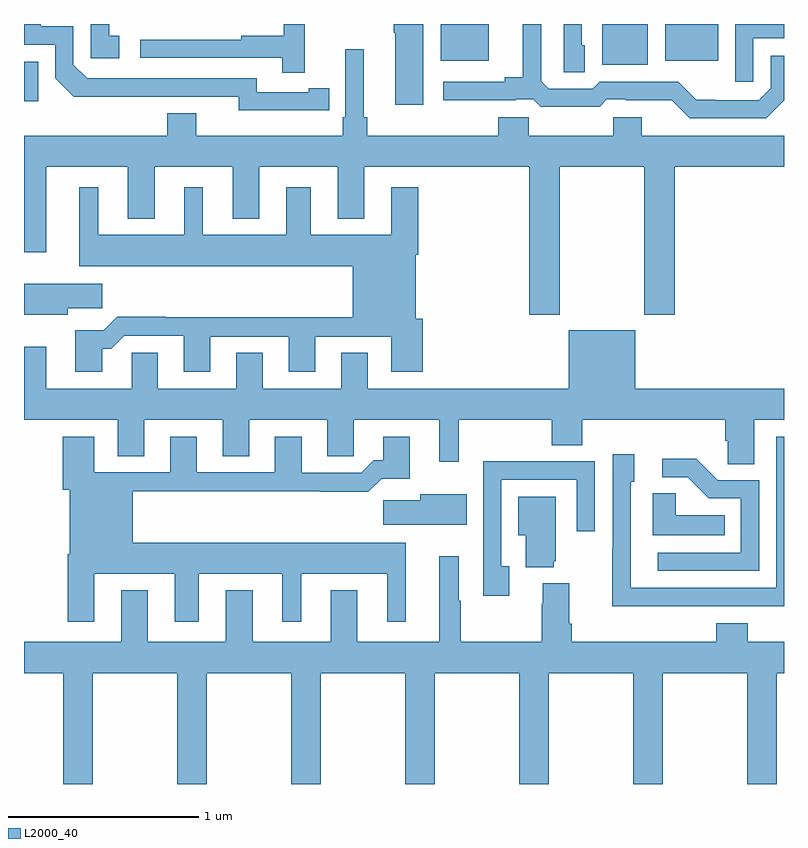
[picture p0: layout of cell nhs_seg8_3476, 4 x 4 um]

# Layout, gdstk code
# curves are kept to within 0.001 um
import gdstk
lib = gdstk.Library(unit=1e-6, precision=1e-09)
def R(c, l, rs):  # rectangles x0, y0, x1, y1
    for r in rs: c.add(gdstk.rectangle(r[:2], r[2:], *l))
def P(c, l, *ps):  # polygons
    for p in ps: c.add(gdstk.Polygon(p, *l))
L2000_40 = (2000, 40)

nhs_seg8_3476 = lib.new_cell('nhs_seg8_3476')
R(nhs_seg8_3476, L2000_40, [(325,1135.494,325.074,1135.701), (328.043,1135.685,328.282,1135.9), (327.194,1135.706,327.445,1135.9), (328.376,1135.706,328.654,1135.9)])
P(nhs_seg8_3476, L2000_40, [(326.498,1135.446),(326.606,1135.446),(326.606,1135.562),(326.498,1135.562),(326.498,1135.542),(326.226,1135.542),(326.226,1135.614),(325.332,1135.614),(325.26,1135.686),(325.26,1135.887),(325.087,1135.887),(325.087,1135.9),(325,1135.9),(325,1135.791),(325.164,1135.791),(325.164,1135.614),(325.262,1135.517),(326.13,1135.518),(326.13,1135.445)],
  [(326.477,1135.9),(326.367,1135.9),(326.367,1135.838),(326.143,1135.838),(326.143,1135.818),(325.611,1135.818),(325.611,1135.722),(326.359,1135.722),(326.359,1135.644),(326.477,1135.644)],
  [(329,1135.498),(329,1135.734),(328.929,1135.734),(328.929,1135.563),(328.866,1135.5),(328.642,1135.5),(328.642,1135.502),(328.538,1135.502),(328.443,1135.596),(328.029,1135.596),(327.993,1135.56),(327.762,1135.56),(327.723,1135.599),(327.723,1135.9),(327.626,1135.9),(327.626,1135.619),(327.53,1135.619),(327.53,1135.596),(327.207,1135.596),(327.207,1135.499),(327.587,1135.499),(327.587,1135.503),(327.681,1135.503),(327.721,1135.464),(328.029,1135.464),(328.068,1135.503),(328.168,1135.503),(328.168,1135.499),(328.409,1135.499),(328.503,1135.404),(328.906,1135.404)],
  [(325.501,1135.839),(325.448,1135.839),(325.448,1135.9),(325.35,1135.9),(325.35,1135.719),(325.501,1135.719)],
  [(327.1,1135.9),(326.947,1135.9),(326.947,1135.855),(326.954,1135.855),(326.954,1135.476),(327.1,1135.476)],
  [(327.952,1135.788),(327.936,1135.788),(327.936,1135.9),(327.84,1135.9),(327.84,1135.645),(327.952,1135.645)],
  [(328.839,1135.824),(329,1135.824),(329,1135.9),(328.743,1135.9),(328.743,1135.596),(328.839,1135.596)],
  [(327.819,1135.148),(328.264,1135.148),(328.264,1134.369),(328.424,1134.369),(328.424,1135.148),(329,1135.148),(329,1135.312),(328.252,1135.312),(328.252,1135.41),(328.102,1135.41),(328.102,1135.312),(327.657,1135.312),(327.657,1135.41),(327.497,1135.41),(327.497,1135.312),(326.807,1135.312),(326.807,1135.408),(326.788,1135.408),(326.788,1135.768),(326.691,1135.768),(326.691,1135.408),(326.678,1135.408),(326.678,1135.312),(325.906,1135.312),(325.906,1135.429),(325.754,1135.429),(325.754,1135.312),(325,1135.312),(325,1134.699),(325.117,1134.699),(325.117,1135.148),(325.547,1135.148),(325.547,1134.875),(325.687,1134.875),(325.687,1135.148),(326.099,1135.148),(326.099,1134.875),(326.239,1134.875),(326.239,1135.148),(326.651,1135.148),(326.651,1134.875),(326.791,1134.875),(326.791,1135.148),(327.659,1135.148),(327.659,1134.369),(327.819,1134.369)],
  [(325.411,1134.191),(325.46,1134.191),(325.527,1134.258),(325.841,1134.258),(325.841,1134.069),(325.981,1134.069),(325.981,1134.255),(326.393,1134.255),(326.393,1134.069),(326.533,1134.069),(326.533,1134.255),(326.933,1134.255),(326.933,1134.069),(327.098,1134.069),(327.098,1134.348),(327.061,1134.348),(327.061,1134.686),(327.074,1134.686),(327.074,1135.042),(326.933,1135.042),(326.933,1134.79),(326.509,1134.79),(326.509,1135.042),(326.381,1135.042),(326.381,1134.79),(325.942,1134.79),(325.942,1135.042),(325.844,1135.042),(325.844,1134.79),(325.39,1134.79),(325.39,1135.042),(325.292,1135.042),(325.292,1134.626),(326.729,1134.626),(326.729,1134.356),(325.745,1134.356),(325.745,1134.359),(325.49,1134.359),(325.42,1134.289),(325.271,1134.289),(325.271,1134.069),(325.411,1134.069)],
  [(325.231,1134.403),(325.411,1134.403),(325.411,1134.532),(325,1134.532),(325,1134.371),(325.231,1134.371)],
  [(325,1134.202),(325,1133.816),(325.493,1133.816),(325.493,1133.626),(325.633,1133.626),(325.633,1133.816),(326.045,1133.816),(326.045,1133.626),(326.185,1133.626),(326.185,1133.816),(326.597,1133.816),(326.597,1133.626),(326.736,1133.626),(326.736,1133.816),(327.185,1133.816),(327.185,1133.595),(327.289,1133.595),(327.289,1133.816),(327.778,1133.816),(327.778,1133.683),(327.938,1133.683),(327.938,1133.816),(328.691,1133.816),(328.691,1133.707),(328.704,1133.707),(328.704,1133.584),(328.843,1133.584),(328.843,1133.816),(329,1133.816),(329,1133.98),(328.216,1133.98),(328.216,1134.289),(327.866,1134.289),(327.866,1133.98),(326.809,1133.98),(326.809,1134.17),(326.669,1134.17),(326.669,1133.98),(326.257,1133.98),(326.257,1134.17),(326.117,1134.17),(326.117,1133.98),(325.705,1133.98),(325.705,1134.17),(325.566,1134.17),(325.566,1133.98),(325.117,1133.98),(325.117,1134.202)],
  [(325.369,1133.006),(325.793,1133.006),(325.793,1132.755),(325.921,1132.755),(325.921,1133.006),(326.36,1133.006),(326.36,1132.755),(326.458,1132.755),(326.458,1133.006),(326.912,1133.006),(326.912,1132.755),(327.01,1132.755),(327.01,1133.17),(325.573,1133.17),(325.573,1133.44),(326.557,1133.44),(326.557,1133.438),(326.813,1133.438),(326.882,1133.507),(327.031,1133.507),(327.031,1133.728),(326.891,1133.728),(326.891,1133.605),(326.842,1133.605),(326.775,1133.538),(326.461,1133.538),(326.461,1133.728),(326.321,1133.728),(326.321,1133.541),(325.909,1133.541),(325.909,1133.728),(325.769,1133.728),(325.769,1133.541),(325.369,1133.541),(325.369,1133.728),(325.205,1133.728),(325.205,1133.448),(325.241,1133.448),(325.241,1133.11),(325.229,1133.11),(325.229,1132.755),(325.369,1132.755)],
  [(328.559,1132.836),(329,1132.836),(329,1133.727),(328.959,1133.727),(328.959,1132.932),(328.194,1132.932),(328.194,1133.49),(328.213,1133.49),(328.213,1133.635),(328.098,1133.635),(328.098,1133.141),(328.096,1133.141),(328.096,1132.835),(328.559,1132.835)],
  [(328.869,1133.499),(328.65,1133.499),(328.537,1133.612),(328.359,1133.612),(328.359,1133.514),(328.493,1133.514),(328.604,1133.403),(328.773,1133.403),(328.773,1133.118),(328.335,1133.118),(328.335,1133.022),(328.869,1133.022)],
  [(327.553,1133.046),(327.513,1133.046),(327.513,1133.502),(327.909,1133.502),(327.909,1133.229),(328.005,1133.229),(328.005,1133.598),(327.689,1133.598),(327.689,1133.6),(327.417,1133.6),(327.417,1132.89),(327.553,1132.89)],
  [(328.688,1133.314),(328.431,1133.314),(328.431,1133.429),(328.31,1133.429),(328.31,1133.21),(328.688,1133.21)],
  [(327.331,1133.425),(327.086,1133.425),(327.086,1133.393),(326.892,1133.393),(326.892,1133.264),(327.331,1133.264)],
  [(327.788,1133.073),(327.799,1133.073),(327.799,1133.413),(327.602,1133.413),(327.602,1133.21),(327.641,1133.21),(327.641,1133.042),(327.788,1133.042)],
  [(328.807,1131.9),(328.962,1131.9),(328.962,1132.484),(329,1132.484),(329,1132.648),(328.808,1132.648),(328.808,1132.747),(328.643,1132.747),(328.643,1132.648),(327.884,1132.648),(327.884,1132.744),(327.871,1132.744),(327.871,1132.957),(327.731,1132.957),(327.731,1132.85),(327.724,1132.85),(327.724,1132.648),(327.299,1132.648),(327.299,1132.865),(327.289,1132.865),(327.289,1133.098),(327.185,1133.098),(327.185,1132.648),(326.755,1132.648),(326.755,1132.921),(326.615,1132.921),(326.615,1132.648),(326.203,1132.648),(326.203,1132.921),(326.063,1132.921),(326.063,1132.648),(325.651,1132.648),(325.651,1132.921),(325.511,1132.921),(325.511,1132.648),(325,1132.648),(325,1132.484),(325.207,1132.484),(325.207,1131.9),(325.362,1131.9),(325.362,1132.484),(325.807,1132.484),(325.807,1131.9),(325.962,1131.9),(325.962,1132.484),(326.407,1132.484),(326.407,1131.9),(326.562,1131.9),(326.562,1132.484),(327.007,1132.484),(327.007,1131.9),(327.162,1131.9),(327.162,1132.484),(327.607,1132.484),(327.607,1131.9),(327.762,1131.9),(327.762,1132.484),(328.207,1132.484),(328.207,1131.9),(328.362,1131.9),(328.362,1132.484),(328.807,1132.484)])

lib.write_gds('nhs_seg8_3476.gds')
